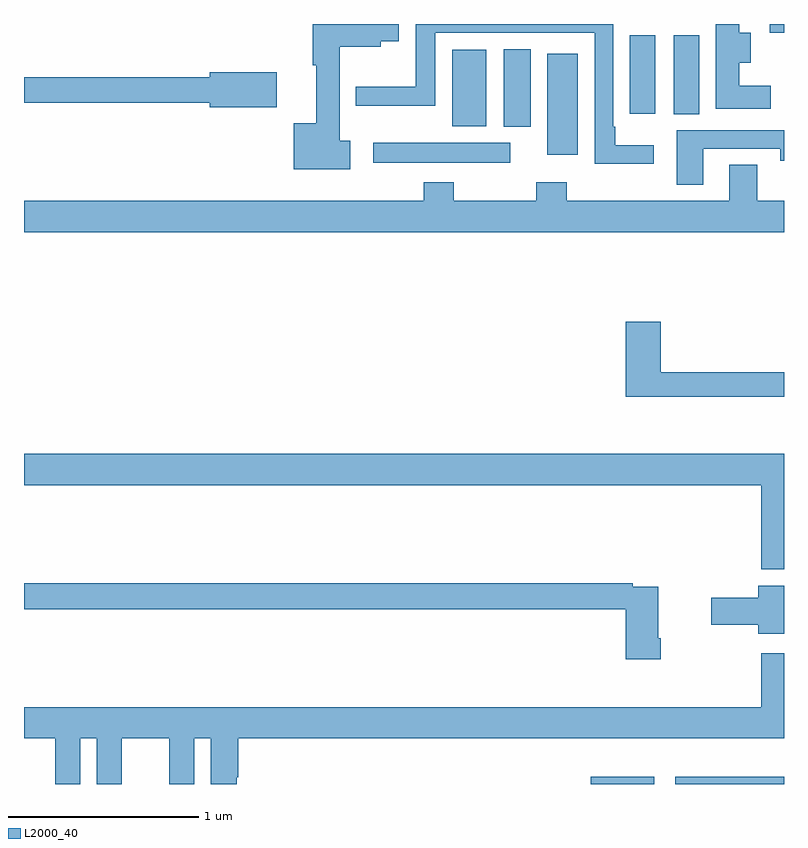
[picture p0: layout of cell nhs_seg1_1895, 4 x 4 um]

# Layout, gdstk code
import gdstk
lib = gdstk.Library(unit=1e-6, precision=1e-09)
def R(c, l, rs):  # rectangles x0, y0, x1, y1
    for r in rs: c.add(gdstk.rectangle(r[:2], r[2:], *l))
def P(c, l, *ps):  # polygons
    for p in ps: c.add(gdstk.Polygon(p, *l))
L2000_40 = (2000, 40)

nhs_seg1_1895 = lib.new_cell('nhs_seg1_1895')
R(nhs_seg1_1895, L2000_40, [(217.983,510.199,218.316,510.236), (218.427,510.199,219,510.238), (216.837,513.47,217.558,513.574), (217.754,513.51,217.915,514.042), (217.526,513.659,217.666,514.067), (217.253,513.662,217.432,514.063), (218.42,513.724,218.554,514.14), (218.189,513.726,218.323,514.14), (218.925,514.152,219,514.199)])
P(nhs_seg1_1895, L2000_40, [(216.718,513.584),(216.661,513.584),(216.661,514.079),(216.877,514.079),(216.877,514.109),(216.972,514.109),(216.972,514.199),(216.521,514.199),(216.521,513.983),(216.539,513.983),(216.539,513.676),(216.419,513.676),(216.419,513.434),(216.718,513.434)],
  [(218.929,513.874),(218.764,513.874),(218.764,513.995),(218.824,513.995),(218.824,514.153),(218.764,514.153),(218.764,514.199),(218.642,514.199),(218.642,513.752),(218.929,513.752)],
  [(218.314,513.562),(218.113,513.562),(218.113,513.658),(218.1,513.658),(218.1,514.199),(217.061,514.199),(217.061,513.869),(216.746,513.869),(216.746,513.77),(217.165,513.77),(217.165,514.152),(218.004,514.152),(218.004,513.464),(218.314,513.464)],
  [(216.331,513.944),(215.978,513.944),(215.978,513.92),(215,513.92),(215,513.784),(215.978,513.784),(215.978,513.761),(216.331,513.761)],
  [(218.575,513.543),(218.98,513.543),(218.98,513.48),(219,513.48),(219,513.639),(218.435,513.639),(218.435,513.354),(218.575,513.354)],
  [(219,513.268),(218.859,513.268),(218.859,513.458),(218.711,513.458),(218.711,513.268),(217.856,513.268),(217.856,513.367),(217.696,513.367),(217.696,513.268),(217.263,513.268),(217.263,513.367),(217.103,513.367),(217.103,513.268),(215,513.268),(215,513.104),(219,513.104)],
  [(219,512.366),(218.351,512.366),(218.351,512.632),(218.168,512.632),(218.168,512.238),(219,512.238)],
  [(219,511.936),(215,511.936),(215,511.772),(218.88,511.772),(218.88,511.328),(219,511.328)],
  [(218.351,510.967),(218.338,510.967),(218.338,511.236),(218.204,511.236),(218.204,511.256),(215,511.256),(215,511.12),(218.168,511.12),(218.168,510.855),(218.351,510.855)],
  [(219,511.243),(218.864,511.243),(218.864,511.178),(218.616,511.178),(218.616,511.036),(218.864,511.036),(218.864,510.989),(219,510.989)],
  [(215.296,510.44),(215.384,510.44),(215.384,510.199),(215.515,510.199),(215.515,510.44),(215.765,510.44),(215.765,510.199),(215.896,510.199),(215.896,510.44),(215.984,510.44),(215.984,510.199),(216.121,510.199),(216.121,510.235),(216.128,510.235),(216.128,510.44),(219,510.44),(219,510.886),(218.88,510.886),(218.88,510.604),(215,510.604),(215,510.44),(215.165,510.44),(215.165,510.199),(215.296,510.199)])

lib.write_gds('nhs_seg1_1895.gds')
